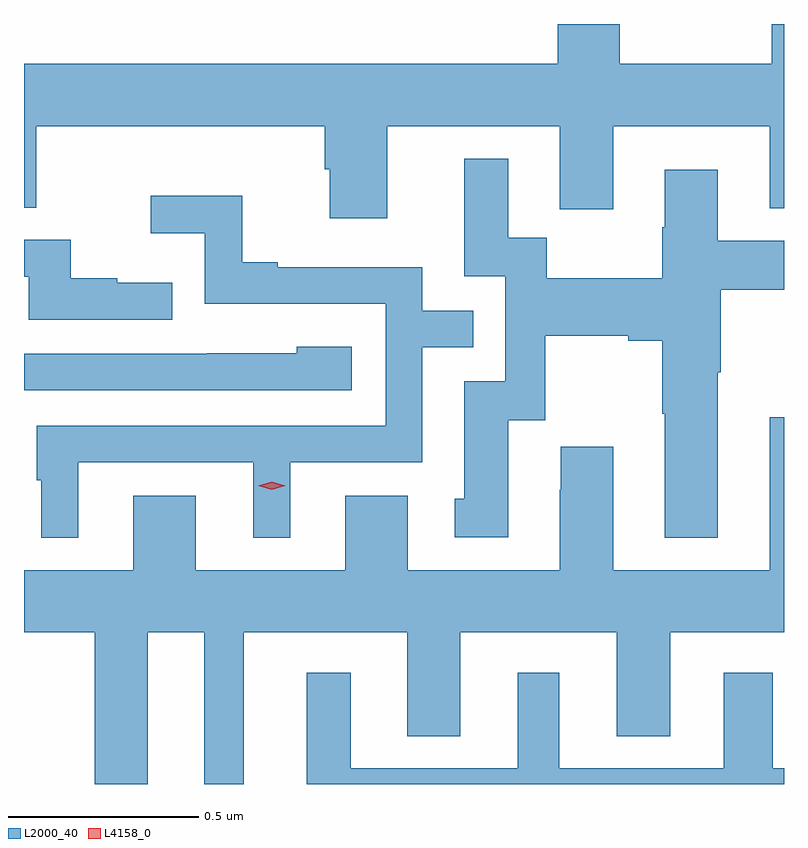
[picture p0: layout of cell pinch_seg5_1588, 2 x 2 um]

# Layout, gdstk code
import gdstk
lib = gdstk.Library(unit=1e-6, precision=1e-09)
def P(c, l, *ps):  # polygons
    for p in ps: c.add(gdstk.Polygon(p, *l))
L2000_40 = (2000, 40)
L4158_0 = (4158, 0)

pinch_seg5_1588 = lib.new_cell('pinch_seg5_1588')
P(pinch_seg5_1588, L2000_40, [(255.343,846.104),(255.797,846.104),(255.797,845.886),(255.937,845.886),(255.937,846.104),(256.349,846.104),(256.349,845.888),(256.387,845.888),(256.387,846.373),(256.355,846.373),(256.355,846.268),(255.955,846.268),(255.955,846.373),(255.791,846.373),(255.791,846.268),(254.387,846.268),(254.387,845.89),(254.419,845.89),(254.419,846.104),(255.179,846.104),(255.179,845.991),(255.191,845.991),(255.191,845.862),(255.343,845.862)],
  [(256.213,845.456),(256.221,845.456),(256.221,845.674),(256.387,845.674),(256.387,845.803),(256.213,845.803),(256.213,845.989),(256.073,845.989),(256.073,845.838),(256.066,845.838),(256.066,845.704),(255.763,845.704),(255.763,845.81),(255.661,845.81),(255.661,846.019),(255.545,846.019),(255.545,845.709),(255.654,845.709),(255.654,845.433),(255.545,845.433),(255.545,845.124),(255.521,845.124),(255.521,845.022),(255.661,845.022),(255.661,845.33),(255.759,845.33),(255.759,845.552),(255.977,845.552),(255.977,845.54),(256.066,845.54),(256.066,845.347),(256.073,845.347),(256.073,845.021),(256.213,845.021)],
  [(254.53,845.22),(254.99,845.22),(254.99,845.021),(255.088,845.021),(255.088,845.22),(255.435,845.22),(255.435,845.523),(255.569,845.523),(255.569,845.619),(255.435,845.619),(255.435,845.733),(255.055,845.733),(255.055,845.746),(254.961,845.746),(254.961,845.921),(254.721,845.921),(254.721,845.822),(254.862,845.822),(254.862,845.637),(255.339,845.637),(255.339,845.316),(254.421,845.316),(254.421,845.172),(254.432,845.172),(254.432,845.021),(254.53,845.021)],
  [(254.777,845.692),(254.633,845.692),(254.633,845.704),(254.51,845.704),(254.51,845.805),(254.387,845.805),(254.387,845.708),(254.4,845.708),(254.4,845.595),(254.777,845.595)],
  [(255.25,845.524),(255.105,845.524),(255.105,845.506),(254.869,845.506),(254.869,845.505),(254.387,845.505),(254.387,845.409),(255.25,845.409)],
  [(254.387,844.772),(254.573,844.772),(254.573,844.373),(254.713,844.373),(254.713,844.772),(254.861,844.772),(254.861,844.373),(254.965,844.373),(254.965,844.772),(255.395,844.772),(255.395,844.499),(255.535,844.499),(255.535,844.772),(255.947,844.772),(255.947,844.499),(256.087,844.499),(256.087,844.772),(256.387,844.772),(256.387,845.338),(256.349,845.338),(256.349,844.936),(255.937,844.936),(255.937,845.26),(255.8,845.26),(255.8,845.147),(255.797,845.147),(255.797,844.936),(255.397,844.936),(255.397,845.131),(255.233,845.131),(255.233,844.936),(254.839,844.936),(254.839,845.131),(254.675,845.131),(254.675,844.936),(254.387,844.936)],
  [(256.387,844.414),(256.357,844.414),(256.357,844.666),(256.229,844.666),(256.229,844.414),(255.796,844.414),(255.796,844.666),(255.686,844.666),(255.686,844.414),(255.247,844.414),(255.247,844.666),(255.131,844.666),(255.131,844.373),(256.387,844.373)])
P(pinch_seg5_1588, L4158_0, [(255.039,845.148),(255.003,845.158),(255.003,845.158),(255.003,845.158),(255.039,845.168),(255.075,845.158),(255.075,845.158),(255.075,845.158)])

lib.write_gds('pinch_seg5_1588.gds')
